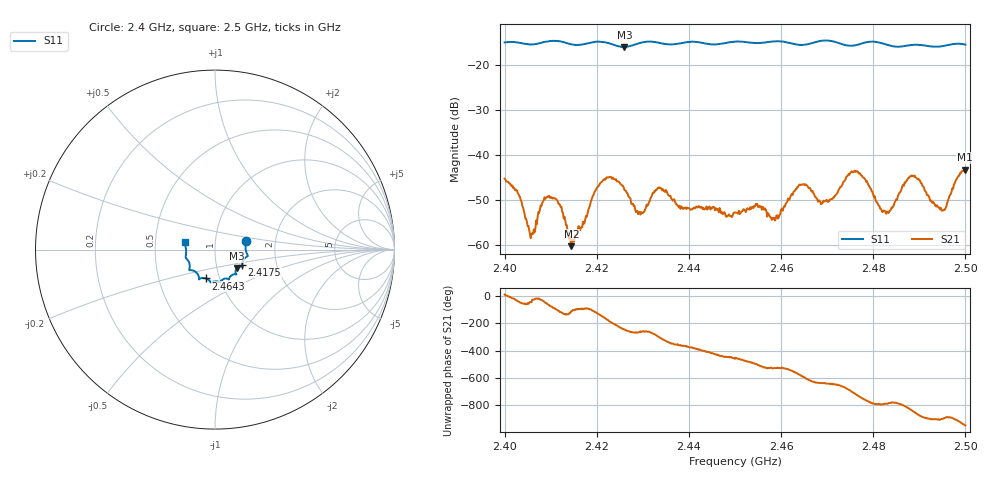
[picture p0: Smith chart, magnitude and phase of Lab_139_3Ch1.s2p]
# Hz S RI R 50
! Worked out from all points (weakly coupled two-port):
!   601 points, 2.4 GHz to 2.5 GHz, reference 50 ohm
!   highest |S21| = -43.21 dB at 2.4998 GHz (marker M1); lowest = -60.3 dB at 2.4145 GHz (marker M2)
!   lowest |S11| = -15.9 dB at 2.426 GHz (marker M3), VSWR 1.38, Z = 62.1 - j13.3 ohm
!   |S11| at or under -10 dB: start of sweep to end of sweep
!   S12 and S22 are empty: the file has one direction only
!   S11 on the Smith chart (normalised r, x): 2.4 GHz: 1.41, +0.14; 2.4175 GHz: 1.33, -0.23; 2.4643 GHz: 0.86, -0.28; 2.5 GHz: 0.72, +0.06
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2.4e9  0.173 0.0486  0.00541 0.000887  0 0  0 0
2.403e9  0.1752 0.035  0.00278 -0.00244  0 0  0 0
2.405667e9  0.1702 0.00655  0.000855 -0.000829  0 0  0 0
2.409667e9  0.1824 -0.0323  0.00134 -0.00326  0 0  0 0
2.4145e9  0.1633 -0.0502  -0.000349 -0.000906  0 0  0 0
2.416667e9  0.1525 -0.0738  -0.000232 -0.00156  0 0  0 0
2.4175e9  0.1514 -0.0835  -4.23e-05 -0.00192  0 0  0 0
2.421667e9  0.1531 -0.0961  -0.0051 -0.00182  0 0  0 0
2.426e9  0.1206 -0.1044  -0.00171 0.00372  0 0  0 0
2.4295e9  0.116 -0.1347  -0.000407 0.00215  0 0  0 0
2.433333e9  0.1138 -0.1373  0.00204 0.00385  0 0  0 0
2.45e9  0.0283 -0.1813  -0.000428 -0.00226  0 0  0 0
2.459e9  -0.0233 -0.1835  -0.00209 -0.000418  0 0  0 0
2.464333e9  -0.0498 -0.1607  -0.00348 0.00318  0 0  0 0
2.466667e9  -0.0762 -0.1587  -0.000288 0.00392  0 0  0 0
2.470667e9  -0.0887 -0.1647  0.000827 0.00309  0 0  0 0
2.476333e9  -0.1199 -0.1171  0.00659 -0.000337  0 0  0 0
2.483333e9  -0.1406 -0.0898  0.000995 -0.00204  0 0  0 0
2.4885e9  -0.1619 -0.0466  -0.00297 -0.00507  0 0  0 0
2.495333e9  -0.1638 0.0139  -0.00246 -0.000274  0 0  0 0
2.499833e9  -0.1652 0.0424  -0.00485 0.00492  0 0  0 0
2.5e9  -0.1645 0.0433  -0.00462 0.00505  0 0  0 0
